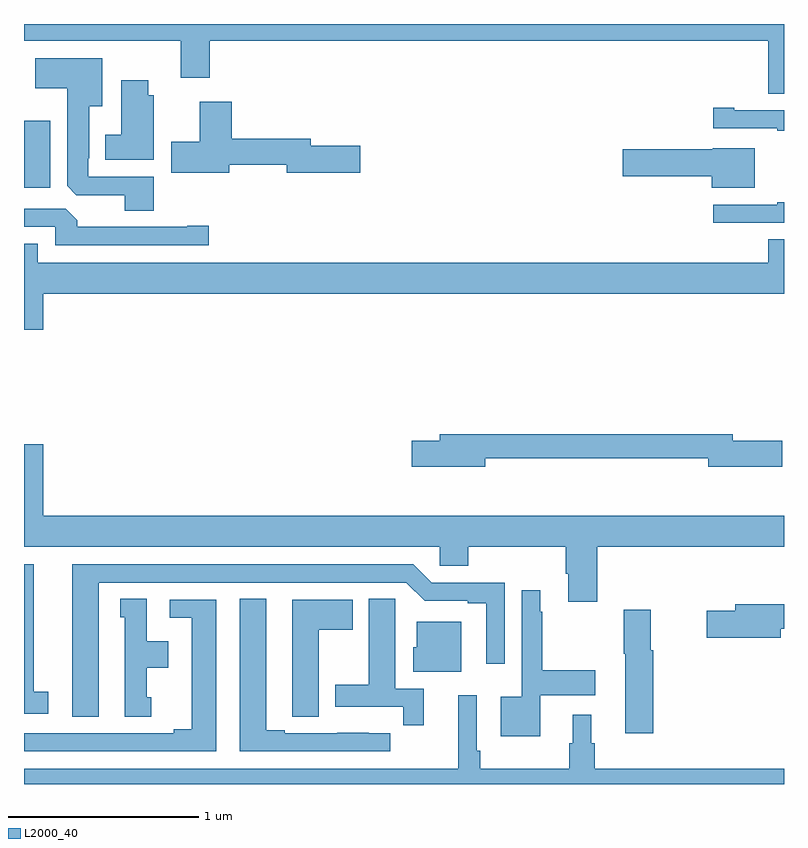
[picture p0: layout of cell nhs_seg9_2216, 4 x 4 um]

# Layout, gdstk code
import gdstk
lib = gdstk.Library(unit=1e-6, precision=1e-09)
def R(c, l, rs):  # rectangles x0, y0, x1, y1
    for r in rs: c.add(gdstk.rectangle(r[:2], r[2:], *l))
def P(c, l, *ps):  # polygons
    for p in ps: c.add(gdstk.Polygon(p, *l))
L2000_40 = (2000, 40)

nhs_seg9_2216 = lib.new_cell('nhs_seg9_2216')
R(nhs_seg9_2216, L2000_40, [(237,1203.638,237.139,1203.991)])
P(nhs_seg9_2216, L2000_40, [(241,1204.5),(237,1204.5),(237,1204.412),(237.824,1204.412),(237.824,1204.218),(237.977,1204.218),(237.977,1204.412),(240.917,1204.412),(240.917,1204.132),(241,1204.132)],
  [(237.683,1203.696),(237.339,1203.696),(237.339,1203.793),(237.343,1203.793),(237.343,1204.067),(237.412,1204.067),(237.412,1204.321),(237.06,1204.321),(237.06,1204.163),(237.227,1204.163),(237.227,1203.649),(237.276,1203.6),(237.53,1203.6),(237.53,1203.517),(237.683,1203.517)],
  [(237.682,1204.125),(237.655,1204.125),(237.655,1204.204),(237.512,1204.204),(237.512,1203.916),(237.428,1203.916),(237.428,1203.785),(237.682,1203.785)],
  [(238.081,1203.76),(238.382,1203.76),(238.382,1203.718),(238.771,1203.718),(238.771,1203.86),(238.51,1203.86),(238.51,1203.896),(238.094,1203.896),(238.094,1204.09),(237.926,1204.09),(237.926,1203.879),(237.774,1203.879),(237.774,1203.716),(238.081,1203.716)],
  [(241,1204.047),(240.739,1204.047),(240.739,1204.06),(240.627,1204.06),(240.627,1203.951),(240.965,1203.951),(240.965,1203.939),(241,1203.939)],
  [(240.847,1203.847),(240.624,1203.847),(240.624,1203.842),(240.15,1203.842),(240.15,1203.7),(240.62,1203.7),(240.62,1203.638),(240.847,1203.638)],
  [(241,1203.562),(240.965,1203.562),(240.965,1203.549),(240.627,1203.549),(240.627,1203.453),(241,1203.453)],
  [(237.973,1203.437),(237.86,1203.437),(237.86,1203.432),(237.281,1203.432),(237.281,1203.466),(237.219,1203.528),(237,1203.528),(237,1203.432),(237.165,1203.432),(237.165,1203.336),(237.973,1203.336)],
  [(237.1,1203.08),(241,1203.08),(241,1203.368),(240.917,1203.368),(240.917,1203.244),(237.073,1203.244),(237.073,1203.343),(237,1203.343),(237,1202.892),(237.1,1202.892)],
  [(239.428,1202.214),(240.602,1202.214),(240.602,1202.171),(240.991,1202.171),(240.991,1202.306),(240.73,1202.306),(240.73,1202.342),(239.189,1202.342),(239.189,1202.306),(239.04,1202.306),(239.04,1202.171),(239.428,1202.171)],
  [(240.017,1201.748),(241,1201.748),(241,1201.912),(237.1,1201.912),(237.1,1202.287),(237,1202.287),(237,1201.748),(239.187,1201.748),(239.187,1201.65),(239.339,1201.65),(239.339,1201.748),(239.852,1201.748),(239.852,1201.606),(239.864,1201.606),(239.864,1201.458),(240.017,1201.458)],
  [(237.127,1200.986),(237.052,1200.986),(237.052,1201.656),(237,1201.656),(237,1200.87),(237.127,1200.87)],
  [(237.394,1201.56),(239.013,1201.56),(239.109,1201.464),(239.336,1201.464),(239.336,1201.452),(239.432,1201.452),(239.432,1201.134),(239.529,1201.134),(239.529,1201.56),(239.145,1201.56),(239.049,1201.656),(237.254,1201.656),(237.254,1200.855),(237.394,1200.855)],
  [(239.716,1200.968),(240.007,1200.968),(240.007,1201.098),(239.728,1201.098),(239.728,1201.406),(239.716,1201.406),(239.716,1201.519),(239.619,1201.519),(239.619,1200.958),(239.51,1200.958),(239.51,1200.752),(239.716,1200.752)],
  [(237.67,1200.957),(237.646,1200.957),(237.646,1201.112),(237.76,1201.112),(237.76,1201.252),(237.646,1201.252),(237.646,1201.475),(237.506,1201.475),(237.506,1201.377),(237.53,1201.377),(237.53,1200.855),(237.67,1200.855)],
  [(238.927,1200.768),(238.814,1200.768),(238.814,1200.769),(238.648,1200.769),(238.648,1200.768),(238.372,1200.768),(238.372,1200.783),(238.276,1200.783),(238.276,1201.475),(238.136,1201.475),(238.136,1200.672),(238.927,1200.672)],
  [(239.105,1201.002),(238.954,1201.002),(238.954,1201.364),(238.953,1201.364),(238.953,1201.475),(238.814,1201.475),(238.814,1201.023),(238.637,1201.023),(238.637,1200.906),(238.996,1200.906),(238.996,1200.81),(239.105,1200.81)],
  [(238.552,1201.312),(238.729,1201.312),(238.729,1201.471),(238.412,1201.471),(238.412,1200.961),(238.413,1200.961),(238.413,1200.853),(238.552,1200.853)],
  [(238.012,1201.47),(237.768,1201.47),(237.768,1201.374),(237.884,1201.374),(237.884,1200.788),(237.788,1200.788),(237.788,1200.768),(237,1200.768),(237,1200.672),(238.012,1200.672)],
  [(240.982,1201.318),(241,1201.318),(241,1201.447),(240.743,1201.447),(240.743,1201.413),(240.594,1201.413),(240.594,1201.271),(240.982,1201.271)],
  [(240.311,1201.204),(240.298,1201.204),(240.298,1201.417),(240.157,1201.417),(240.157,1201.186),(240.164,1201.186),(240.164,1200.768),(240.311,1200.768)],
  [(239.302,1201.354),(239.066,1201.354),(239.066,1201.221),(239.048,1201.221),(239.048,1201.091),(239.302,1201.091)],
  [(241,1200.58),(240.005,1200.58),(240.005,1200.714),(239.986,1200.714),(239.986,1200.865),(239.888,1200.865),(239.888,1200.714),(239.869,1200.714),(239.869,1200.58),(239.402,1200.58),(239.402,1200.676),(239.382,1200.676),(239.382,1200.967),(239.285,1200.967),(239.285,1200.58),(237,1200.58),(237,1200.5),(241,1200.5)])

lib.write_gds('nhs_seg9_2216.gds')
